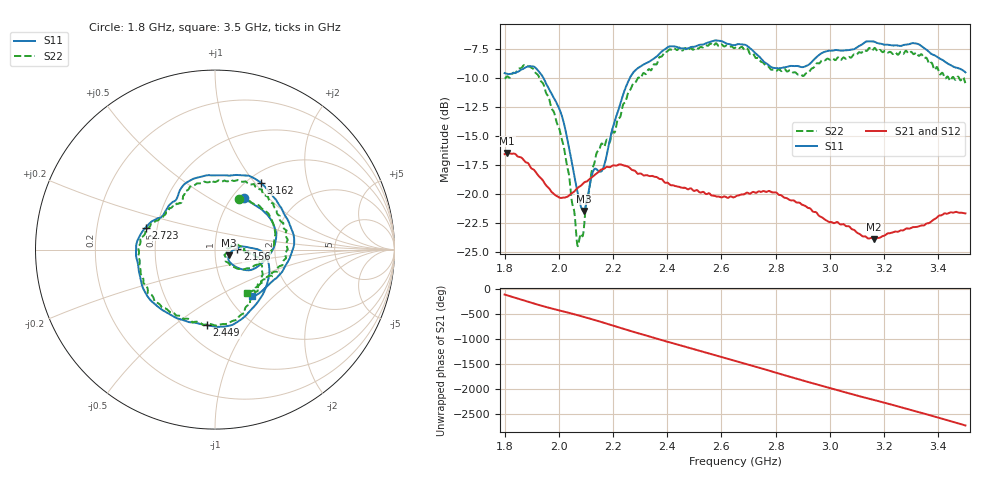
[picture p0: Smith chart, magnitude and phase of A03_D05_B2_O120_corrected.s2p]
! Created with skrf 1.9.0 (http://scikit-rf.org).
# Hz S RI R 50.0
!freq ReS11 ImS11 ReS21 ImS21 ReS12 ImS12 ReS22 ImS22
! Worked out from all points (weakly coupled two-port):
!   1601 points, 1.8 GHz to 3.5 GHz, reference 50 ohm
!   highest |S21| = -16.48 dB at 1.81 GHz (marker M1); lowest = -23.9 dB at 3.163 GHz (marker M2)
!   lowest |S11| = -21.5 dB at 2.091 GHz (marker M3), VSWR 1.18, Z = 58.4 - j3.66 ohm
!   |S11| at or under -10 dB: 1.943 GHz to 2.262 GHz (319.5 MHz wide, 15.2 % of centre)
!   |S22| runs from -24.5 to -7.0 dB; largest |S21 - S12| = 0.0029
!   S11 on the Smith chart (normalised r, x): 1.8 GHz: 1.13, +0.73; 2.156 GHz: 1.29, +0.01; 2.449 GHz: 0.65, -0.66; 2.723 GHz: 0.43, +0.13; 3.162 GHz: 1.15, +1.08; 3.5 GHz: 1.28, -0.75
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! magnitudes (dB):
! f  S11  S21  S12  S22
! 1.8 GHz  -9.6  -16.6  -16.6  -10.1
! 1.81 GHz  -9.7  -16.5  -16.5  -9.9
! 1.88 GHz  -9.1  -17.3  -17.3  -9.0
! 1.942 GHz  -10.0  -18.9  -18.9  -10.5
! 2.013 GHz  -13.4  -20.3  -20.3  -15.4
! 2.068 GHz  -19.7  -19.5  -19.5  -24.3
! 2.084 GHz  -21.2  -19.2  -19.2  -23.5
! 2.091 GHz  -21.5  -19.1  -19.1  -23.2
! 2.127 GHz  -18.0  -18.5  -18.5  -17.6
! 2.156 GHz  -18.1  -17.9  -17.9  -15.7
! 2.26 GHz  -10.1  -17.7  -17.7  -11.1
! 2.367 GHz  -8.0  -18.6  -18.6  -8.4
! 2.449 GHz  -7.5  -19.4  -19.4  -7.5
! 2.65 GHz  -7.2  -20.2  -20.2  -7.4
! 2.723 GHz  -7.8  -19.9  -19.8  -8.2
! 2.796 GHz  -9.2  -19.9  -19.8  -9.3
! 2.934 GHz  -8.6  -21.4  -21.4  -9.2
! 3.162 GHz  -6.9  -23.9  -23.8  -7.5
! 3.163 GHz  -6.9  -23.9  -23.8  -7.5
! 3.217 GHz  -7.2  -23.4  -23.4  -7.8
! 3.324 GHz  -7.1  -22.8  -22.8  -8.0
! 3.5 GHz  -9.5  -21.7  -21.7  -10.5
